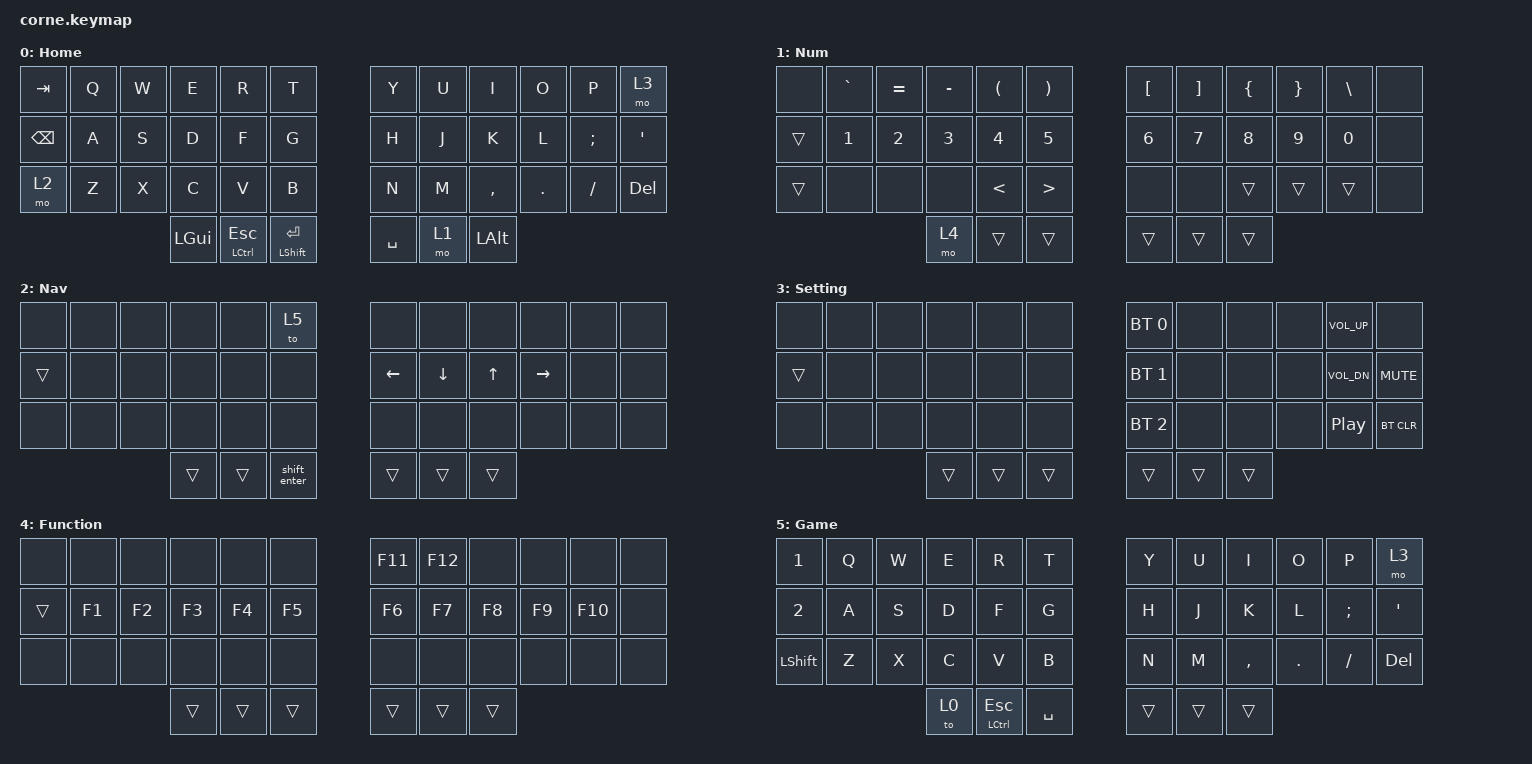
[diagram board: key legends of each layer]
/*
 * Copyright (c) 2020 The ZMK Contributors
 *
 * SPDX-License-Identifier: MIT
 */

#include <behaviors.dtsi>
#include <dt-bindings/zmk/keys.h>
#include <dt-bindings/zmk/bt.h>

/ {
        macros {
                shift_enter: shift_enter {
                compatible = "zmk,behavior-macro";
                #binding-cells = <0>;
                bindings
                        = <&macro_press &kp LSHIFT>
                        , <&macro_tap &kp ENTER>
                        , <&macro_release &kp LSHIFT>
                        ;
                };
        };

        keymap {
                compatible = "zmk,keymap";

                default_layer {
                        display-name = "Home";
                        bindings = <
    &kp TAB   &kp Q    &kp W   &kp E   &kp R   &kp T       &kp Y &kp U  &kp I     &kp O   &kp P    &mo 3
    &kp BSPC  &kp A    &kp S   &kp D   &kp F   &kp G       &kp H &kp J  &kp K     &kp L   &kp SEMI &kp SQT
    &mo 2     &kp Z    &kp X   &kp C   &kp V   &kp B       &kp N &kp M  &kp COMMA &kp DOT &kp FSLH &kp DEL
    &kp LGUI &mt LCTRL ESC &mt LSHFT RET                   &kp SPACE &mo 1 &kp LALT
                        >;
                };

                one_layer {
                    display-name = "Num";
                    bindings = 
                    <
    &none      &kp GRAVE  &kp EQUAL  &kp MINUS  &kp LPAR   &kp RPAR                   &kp LBKT   &kp RBKT   &kp LBRC   &kp RBRC   &kp BSLH    &none
    &trans     &kp N1     &kp N2     &kp N3     &kp N4     &kp N5                     &kp N6     &kp N7     &kp N8     &kp N9     &kp N0      &none
    &trans     &none      &none      &none      &kp LT     &kp GT                     &none      &none      &trans     &trans     &trans      &none
    &mo 4      &trans     &trans                                                      &trans     &trans     &trans
                    >;
                };

                two_layer {
                    display-name = "Nav";
                    bindings = 
                    < 
    &none   &none   &none  &none  &none  &to 5      &none     &none     &none  &none      &none  &none
    &trans  &none   &none  &none  &none  &none      &kp LEFT  &kp DOWN  &kp UP &kp RIGHT  &none  &none
    &none   &none   &none  &none  &none  &none      &none     &none     &none  &none      &none  &none
    &trans  &trans  &shift_enter                    &trans    &trans    &trans
                    >;
                };
                
                three_layer {
                    display-name = "Setting";
                    bindings = 
                    < 
    &none  &none &none &none &none &none      &bt BT_SEL 0 &none &none &none &kp C_VOL_UP  &none
    &trans &none &none &none &none &none      &bt BT_SEL 1 &none &none &none &kp C_VOL_DN  &kp C_MUTE
    &none  &none &none &none &none &none      &bt BT_SEL 2 &none &none &none &kp C_PP      &bt BT_CLR
    &trans  &trans  &trans                    &trans       &trans &trans
                    >;
                };
                
                four_layer {
                    display-name = "Function";
                    bindings = 
                    < 
    &none  &none  &none  &none  &none  &none      &kp F11 &kp F12 &none  &none  &none   &none
    &trans &kp F1 &kp F2 &kp F3 &kp F4 &kp F5     &kp F6  &kp F7  &kp F8 &kp F9 &kp F10 &none
    &none  &none  &none  &none  &none  &none      &none   &none   &none  &none  &none   &none
    &trans &trans &trans                          &trans  &trans  &trans
                    >;
                };
                five_layer {
                    display-name = "Game";
                    bindings = 
                    < 
    &kp N1    &kp Q      &kp W   &kp E   &kp R   &kp T      &kp Y  &kp U  &kp I     &kp O   &kp P    &mo 3
    &kp N2    &kp A      &kp S   &kp D   &kp F   &kp G      &kp H  &kp J  &kp K     &kp L   &kp SEMI &kp SQT
    &kp LSHFT &kp Z      &kp X   &kp C   &kp V   &kp B      &kp N  &kp M  &kp COMMA &kp DOT &kp FSLH &kp DEL
    &to 0 &mt LCTRL ESC  &kp SPACE                          &trans &trans &trans
                    >;
                };
        };
                
};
